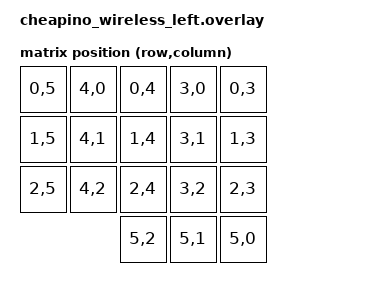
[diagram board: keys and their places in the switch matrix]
/*
 * Copyright (c) 2024 The ZMK Contributors
 *
 * SPDX-License-Identifier: MIT
 */

#include <dt-bindings/zmk/matrix_transform.h>

/ {
    chosen {
        zmk,kscan = &kscan_left;
        zmk,matrix-transform = &left_transform;
    };

    left_transform: keymap_transform_left {
        compatible = "zmk,matrix-transform";
        columns = <6>;
        rows = <6>;
        map = <
            RC(0,5) RC(4,0) RC(0,4) RC(3,0) RC(0,3)   /* top row    pos 0–4  */
            RC(1,5) RC(4,1) RC(1,4) RC(3,1) RC(1,3)   /* middle row pos 5–9  */
            RC(2,5) RC(4,2) RC(2,4) RC(3,2) RC(2,3)   /* bottom row pos 10–14 */
                            RC(5,2) RC(5,1) RC(5,0)   /* thumbs     pos 15–17 */
        >;
    };

    kscan_left: kscan_left {
        compatible = "zmk,kscan-gpio-charlieplex";
        gpios
            = <&gpio1 11 (GPIO_ACTIVE_HIGH | GPIO_PULL_DOWN)>  /* Pin 0: (GP29, P1.11) — testing swap */
            , <&gpio1 13 (GPIO_ACTIVE_HIGH | GPIO_PULL_DOWN)>  /* Pin 1: middle row (GP28, P1.13) */
            , <&gpio1 15 (GPIO_ACTIVE_HIGH | GPIO_PULL_DOWN)>  /* Pin 2: (GP27, P1.15) — testing swap */
            , <&gpio0 31 (GPIO_ACTIVE_HIGH | GPIO_PULL_DOWN)>  /* Pin 3: rightmost col (GP14, P0.31) */
            , <&gpio0 29 (GPIO_ACTIVE_HIGH | GPIO_PULL_DOWN)>  /* Pin 4: middle col    (GP15, P0.29) */
            , <&gpio0  2 (GPIO_ACTIVE_HIGH | GPIO_PULL_DOWN)>  /* Pin 5: leftmost + thumb col (GP26, P0.02) */
            ;
    };
};
